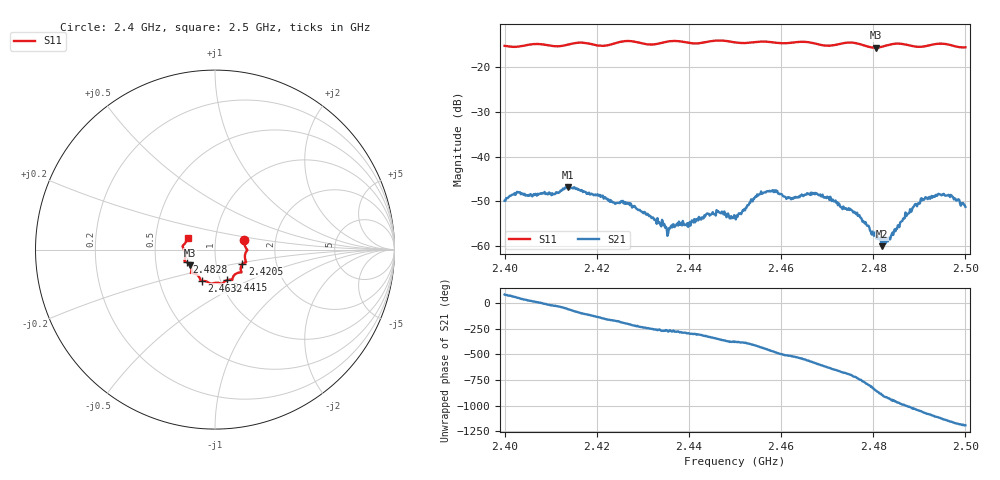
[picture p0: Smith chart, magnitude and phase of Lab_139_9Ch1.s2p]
# Hz S RI R 50
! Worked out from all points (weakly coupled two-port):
!   601 points, 2.4 GHz to 2.5 GHz, reference 50 ohm
!   highest |S21| = -46.76 dB at 2.4138 GHz (marker M1); lowest = -60.0 dB at 2.4818 GHz (marker M2)
!   lowest |S11| = -15.7 dB at 2.4805 GHz (marker M3), VSWR 1.39, Z = 37.3 - j6.67 ohm
!   |S11| at or under -10 dB: start of sweep to end of sweep
!   S12 and S22 are empty: the file has one direction only
!   S11 on the Smith chart (normalised r, x): 2.4 GHz: 1.38, +0.15; 2.4205 GHz: 1.34, -0.23; 2.4415 GHz: 1.07, -0.38; 2.4632 GHz: 0.82, -0.29; 2.4828 GHz: 0.72, -0.10; 2.5 GHz: 0.73, +0.10
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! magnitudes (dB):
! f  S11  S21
! 2.4 GHz  -15.3  -49.9
! 2.4027 GHz  -15.5  -47.9
! 2.4138 GHz  -15.0  -46.8
! 2.4167 GHz  -14.6  -47.4
! 2.4205 GHz  -15.3  -48.6
! 2.427 GHz  -14.2  -50.3
! 2.4333 GHz  -14.8  -54.8
! 2.4353 GHz  -14.3  -57.7
! 2.4415 GHz  -14.8  -54.0
! 2.4465 GHz  -14.1  -52.4
! 2.45 GHz  -14.5  -53.3
! 2.456 GHz  -14.3  -48.2
! 2.4632 GHz  -14.5  -49.0
! 2.4667 GHz  -14.6  -48.4
! 2.4755 GHz  -14.6  -52.1
! 2.4805 GHz  -15.7  -56.8
! 2.4818 GHz  -15.5  -60.0
! 2.4828 GHz  -15.2  -58.1
! 2.4833 GHz  -15.1  -58.1
! 2.4908 GHz  -15.5  -49.5
! 2.4965 GHz  -15.1  -48.6
! 2.5 GHz  -15.6  -51.2
